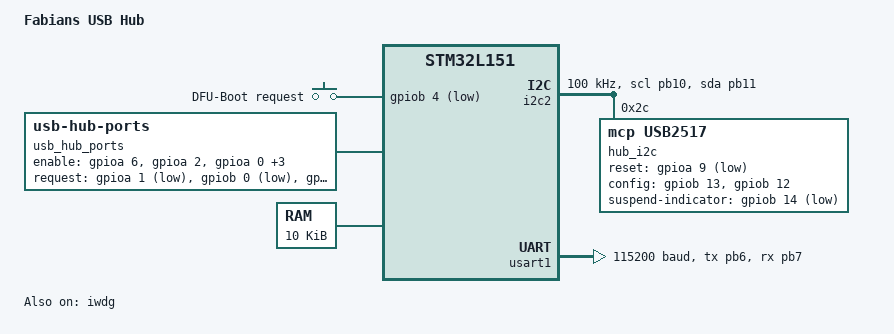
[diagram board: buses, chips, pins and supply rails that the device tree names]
/dts-v1/;

#include <mem.h>
#include <st/l1/stm32l151.dtsi>
#include <st/l1/stm32l151c(6-8-b)tx-pinctrl.dtsi>

/ {
    model = "Fabians USB Hub";
    compatible = "vendor,fabians-usb-hub";

    chosen {
        zephyr,console = &usart1;
        zephyr,shell-uart = &usart1;
		zephyr,uart-mcumgr = &usart1;
        zephyr,sram = &sram0;
        zephyr,flash = &flash0;
        zephyr,code-partition = &slot0_partition;
    };

    buttons {
		compatible = "gpio-keys";
		mcuboot_button0: mcuboot_button0 {
			gpios = <&gpiob 4 GPIO_ACTIVE_LOW>;
			label = "DFU-Boot request";
		};
	};

	aliases {
		mcuboot-button0 = &mcuboot_button0;
    };

    usb_hub_ports {
        compatible = "usb-hub-ports";
        status = "okay";
        enable-gpios = <&gpioa 6 GPIO_ACTIVE_HIGH>,  // port 1
                       <&gpioa 2 GPIO_ACTIVE_HIGH>,  // port 2
                       <&gpioa 0 GPIO_ACTIVE_HIGH>,  // port 3
                       <&gpioa 4 GPIO_ACTIVE_HIGH>,  // port 4
                       <&gpiob 5 GPIO_ACTIVE_HIGH>,  // port 5
                       <&gpioc 14 GPIO_ACTIVE_HIGH>; // port 6
        request-gpios = <&gpioa 1 GPIO_ACTIVE_LOW>,  // port 1
                        <&gpiob 0 GPIO_ACTIVE_LOW>,  // port 2
                        <&gpioa 3 GPIO_ACTIVE_LOW>,  // port 3
                        <&gpiob 2 GPIO_ACTIVE_LOW>,  // port 4
                        <&gpioc 15 GPIO_ACTIVE_LOW>, // port 5
                        <&gpiob 4 GPIO_ACTIVE_LOW>;  // port 6
    };

    sram0: memory@20000000 {
        reg = <0x20000000 DT_SIZE_K(10)>;
    };

    soc {
        flash-controller@40023c00 {
            flash0: flash@8000000 {
                reg = <0x08000000 DT_SIZE_K(64)>;
            };
        };
        eeprom: eeprom@8080000 {
            reg = <0x08080000 DT_SIZE_K(4)>;
        };
    };

};

&clk_hsi {
    status = "okay";
};

&rcc {
    clocks = <&clk_hsi>;
    clock-frequency = <DT_FREQ_M(16)>;
    ahb-prescaler = <1>;
    apb1-prescaler = <1>;
    apb2-prescaler = <1>;
};

&iwdg {
    status = "okay";
};

&flash0 {
    partitions {
        compatible = "fixed-partitions";
        #address-cells = <1>;
        #size-cells = <1>;

        boot_partition: partition@0 {
            label = "mcuboot";
            reg = <0x00000000 DT_SIZE_K(48)>;
        };
        slot0_partition: partition@C000 {
            label = "image-0";
            reg = <0x0000C000 DT_SIZE_K(80)>;
        };
    };
};

&i2c2 {
    pinctrl-0 = <&i2c2_scl_pb10 &i2c2_sda_pb11>;
    pinctrl-names = "default";
    status = "okay";
    clock-frequency = <I2C_BITRATE_STANDARD>;

    hub_i2c: usb2517@2c {
        compatible = "mcp,usb2517";
        status = "okay";
        reg = <0x2c>;
        reset-gpios = <&gpioa 9 GPIO_ACTIVE_LOW>;
        config-gpios = <&gpiob 13 GPIO_ACTIVE_HIGH>,
                       <&gpiob 12 GPIO_ACTIVE_HIGH>;
        suspend-indicator-gpios = <&gpiob 14 GPIO_ACTIVE_LOW>;
    };
};


&usart1 {
    pinctrl-0 = <&usart1_tx_pb6 &usart1_rx_pb7>;
    pinctrl-names = "default";
    current-speed = <115200>;
    status = "okay";
};
